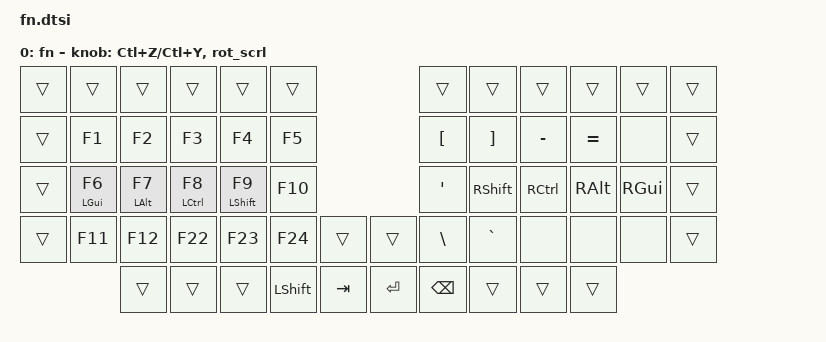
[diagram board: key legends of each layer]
/ {
    keymap {
        compatible = "zmk,keymap";
        
        fn {
            display-name = "fn";
            bindings = <
&trans         &trans         &trans        &trans         &trans          &trans                                &trans          &trans          &trans        &trans          &trans            &trans
&trans         &kp F1         &kp F2        &kp F3         &kp F4          &kp F5                                &kp LBKT        &kp RBKT        &kp MINUS     &kp EQUAL       &none             &trans
&trans         &hmls LGUI F6  &hmls LALT F7 &hmlf LCTRL F8 &hmlf LSHFT F9  &kp F10                               &kp SQT         &kp RSHFT       &kp RCTRL     &kp RALT        &kp RGUI          &trans
&trans         &kp F11        &kp F12       &kp F22        &kp F23         &kp F24       &trans     &trans       &kp BSLH        &kp GRAVE       &none         &none           &none             &trans
                              &trans        &trans         &trans          &kp LSHFT     &kp TAB    &kp RET      &kp BSPC        &trans          &trans        &trans
            >;

            sensor-bindings = <&inc_dec_kp LC(Z) LC(Y) &rot_scrl>;
        };
    };
};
